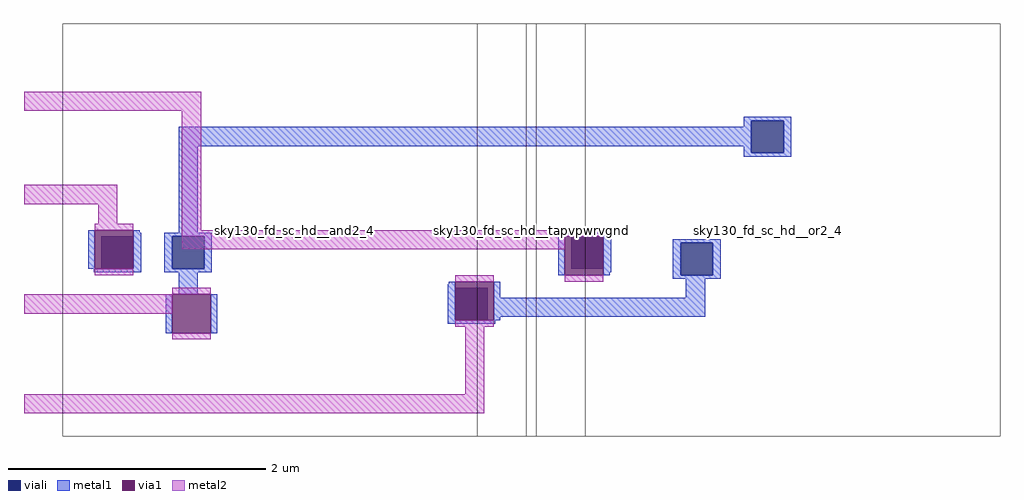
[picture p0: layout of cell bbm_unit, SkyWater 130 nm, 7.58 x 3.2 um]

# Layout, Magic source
magic
tech sky130A
magscale 1 2
<< viali >>
rect 240 420 290 470
rect -770 240 -720 290
rect -660 240 -610 290
rect -40 240 10 290
rect 130 230 180 280
rect -220 160 -170 210
<< metal1 >>
rect 228 470 302 476
rect 228 460 240 470
rect -650 430 240 460
rect -790 240 -780 300
rect -720 296 -710 300
rect -650 296 -620 430
rect 228 420 240 430
rect 290 420 302 470
rect 228 414 302 420
rect -720 240 -708 296
rect -782 234 -708 240
rect -672 290 -598 296
rect -52 290 22 296
rect -672 240 -660 290
rect -610 240 -598 290
rect -672 234 -598 240
rect -650 200 -620 234
rect -60 230 -50 290
rect 10 234 22 290
rect 118 280 192 286
rect 10 230 20 234
rect 118 230 130 280
rect 180 230 192 280
rect 118 224 192 230
rect -230 216 -220 220
rect -670 140 -660 200
rect -600 140 -590 200
rect -232 160 -220 216
rect -160 195 -150 220
rect 138 195 168 224
rect -160 165 168 195
rect -160 160 -150 165
rect -232 154 -158 160
<< via1 >>
rect -780 290 -720 300
rect -780 240 -770 290
rect -770 240 -720 290
rect -50 240 -40 290
rect -40 240 10 290
rect -50 230 10 240
rect -660 140 -600 200
rect -220 210 -160 220
rect -220 160 -170 210
rect -170 160 -160 210
<< metal2 >>
rect -890 485 -615 515
rect -890 340 -745 370
rect -775 310 -745 340
rect -780 300 -720 310
rect -645 300 -615 485
rect -645 290 10 300
rect -645 270 -50 290
rect -780 230 -720 240
rect -220 220 -160 230
rect -50 220 10 230
rect -660 200 -600 210
rect -890 170 -660 200
rect -220 150 -160 160
rect -660 130 -600 140
rect -205 45 -175 150
rect -890 15 -175 45
use sky130_fd_sc_hd__and2_4  sky130_fd_sc_hd__and2_4_1 $PDKPATH/libs.ref/sky130_fd_sc_hd/mag
transform 1 0 -792 0 1 28
box -38 -48 682 592
use sky130_fd_sc_hd__or2_4  sky130_fd_sc_hd__or2_4_1 $PDKPATH/libs.ref/sky130_fd_sc_hd/mag
transform 1 0 -56 0 1 28
box -38 -48 682 592
use sky130_fd_sc_hd__tapvpwrvgnd_1  sky130_fd_sc_hd__tapvpwrvgnd_1_1 $PDKPATH/libs.ref/sky130_fd_sc_hd/mag
transform 1 0 -148 0 1 28
box -38 -48 130 592
<< end >>
